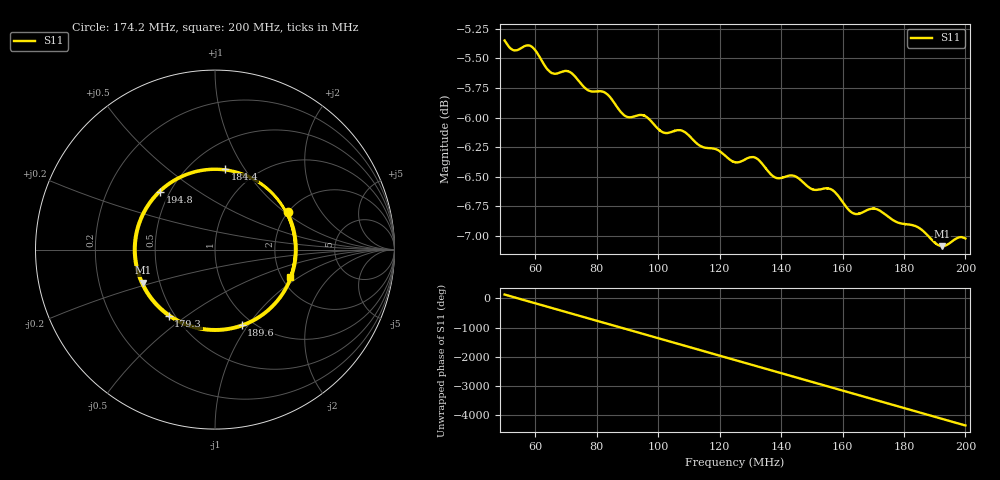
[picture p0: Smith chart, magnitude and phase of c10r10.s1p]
! COPPER MOUNTAIN TECHNOLOGIES, PLANAR TR1300/1, 00071119, 20.2.2/1.0
! Date: 1/7/2024 7:16:14 PM
! Data: Format [Calibration Info]
! Freq  S11: Re/Im F1
# HZ S RI R 50
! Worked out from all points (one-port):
!   12288 points, 50 MHz to 200 MHz, reference 50 ohm
!   lowest |S11| = -7.1 dB at 192.4 MHz (marker M1), VSWR 2.59, Z = 20.1 - j9.23 ohm
!   |S11| at or under -10 dB: nowhere
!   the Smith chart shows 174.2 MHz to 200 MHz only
!   S11 on the Smith chart (normalised r, x): 174.2 MHz: 2.00, +1.05; 179.3 MHz: 0.46, -0.43; 184.4 MHz: 0.73, +0.82; 189.6 MHz: 0.89, -0.93; 194.8 MHz: 0.44, +0.35; 200 MHz: 2.21, -0.85
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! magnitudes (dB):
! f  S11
! 50 MHz  -5.3
! 53.13 MHz  -5.4
! 58.52 MHz  -5.4
! 64.72 MHz  -5.6
! 68.75 MHz  -5.6
! 71.67 MHz  -5.6
! 77.32 MHz  -5.8
! 82.89 MHz  -5.8
! 87.5 MHz  -5.9
! 95.66 MHz  -6.0
! 101.8 MHz  -6.1
! 106.3 MHz  -6.1
! 125 MHz  -6.4
! 131.1 MHz  -6.3
! 138 MHz  -6.5
! 143.8 MHz  -6.5
! 150.2 MHz  -6.6
! 156.6 MHz  -6.6
! 162.5 MHz  -6.8
! 174.2 MHz  -6.8
! 179.3 MHz  -6.9
! 181.3 MHz  -6.9
! 184.4 MHz  -6.9
! 189.6 MHz  -7.0
! 192.4 MHz  -7.1
! 194.8 MHz  -7.1
! 200 MHz  -7.0
! 200 MHz  -7.0
